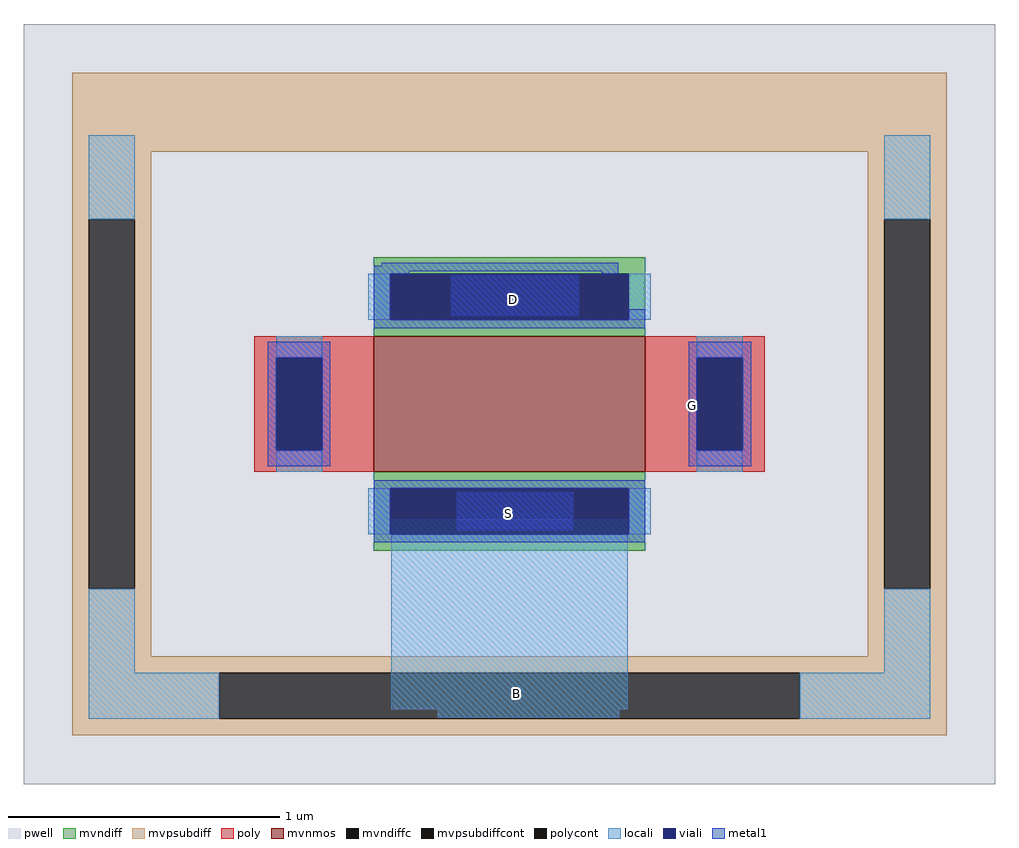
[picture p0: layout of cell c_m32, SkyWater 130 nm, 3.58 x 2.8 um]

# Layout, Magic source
magic
tech sky130A
magscale 1 2
<< locali >>
rect 206 -10 380 130
rect 240 -16 374 -10
<< metal1 >>
rect 250 280 344 310
rect 254 122 340 150
use sky130_fd_pr__nfet_g5v0d10v5_RJ9VG4  sky130_fd_pr__nfet_g5v0d10v5_RJ9VG4_0
transform 0 1 293 -1 0 215
box -280 -358 280 358
<< labels >>
flabel metal1 296 292 296 292 0 FreeSans 800 0 0 0 D
port 0 nsew
flabel space 428 214 428 214 0 FreeSans 800 0 0 0 G
port 1 nsew
flabel metal1 292 134 292 134 0 FreeSans 800 0 0 0 S
port 2 nsew
flabel locali 298 2 298 2 0 FreeSans 800 0 0 0 B
port 3 nsew
<< end >>

# cell sky130_fd_pr__nfet_g5v0d10v5_RJ9VG4: kit device sky130_fd_pr__nfet_g5v0d10v5, w 1 l 0.5 m 1 nf 1 diffcov 100 polycov 100 guard 1 glc 1 grc 1 gtc 1 gbc 1 tbcov 100 rlcov 100 topc 1 botc 1 poverlap 0 doverlap 1 lmin 0.50 wmin 0.42 class mosfet compatible {sky130_fd_pr__nfet_01v8 sky130_fd_pr__nfet_01v8_lvt sky130_fd_bs_flash__special_sonosfet_star sky130_fd_pr__nfet_g5v0d10v5 sky130_fd_pr__nfet_05v0_nvt sky130_fd_pr__nfet_03v3_nvt} full_metal 1 conn_gates 0 viasrc 100 viadrn 100 viagate 100 viagb 0 viagr 0 viagl 0 viagt 0 doports 1
